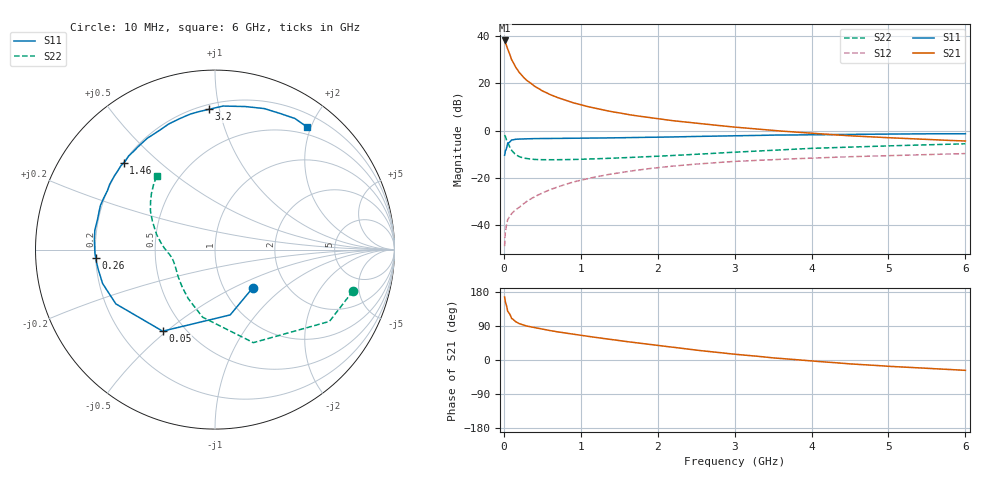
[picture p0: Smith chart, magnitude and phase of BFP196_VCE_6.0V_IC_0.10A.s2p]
! Infineon Technologies  Discrete & RF Semiconductors
! BFP196
! VCE = 6.0 V,  IC = 0.10A
! Common Emitter S-Parameters:  Jan 2016
# GHz  S  MA  R  50
!  f  S11  S21  S12  S22
! GHz  MAG  ANG  MAG  ANG  MAG  ANG  MAG  ANG
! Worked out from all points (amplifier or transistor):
!   210 points, 10 MHz to 6 GHz, reference 50 ohm
!   highest |S21| = 38.3 dB at 10 MHz (marker M1)
!   |S21| within 3 dB of that: start of sweep to 42.63 MHz
!   unconditionally stable (mu >= 1): 379.4 MHz to 4.884 GHz
!   at 185 MHz: K = 0.82, MSG = 29.2 dB, |S12| = -33.0 dB
!   at 1.52 GHz: K = 1.09, MAG = 10.8 dB, |S12| = -17.8 dB
!   at 6 GHz: K = 0.98, MSG = 2.7 dB, |S12| = -9.8 dB
!   S11 on the Smith chart (normalised r, x): 10 MHz: 1.37, -0.63; 50 MHz: 0.38, -0.48; 260 MHz: 0.20, -0.04; 1.46 GHz: 0.20, +0.38; 3.2 GHz: 0.23, +0.93; 6 GHz: 0.38, +1.94
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0.01  0.2991 -45.0  82.03 166.3  0.0035 76.9  0.8024 -16.7
0.02  0.3737 -76.9  75.14 153.4  0.0071 69.4  0.7528 -32.1
0.05  0.54 -122.7  54.04 128.6  0.0128 54.7  0.5607 -67.6
0.1  0.6298 -151.3  32.42 110.0  0.0171 49.3  0.3831 -100.3
0.15  0.6541 -163.2  22.55 101.3  0.0205 52.8  0.3119 -118.3
0.2  0.6598 -170.3  17.21 95.9  0.0234 55.4  0.2799 -130.1
0.24  0.6641 -174.1  14.46 93.1  0.0265 57.8  0.2655 -136.8
0.26  0.6662 -175.8  13.33 91.7  0.0281 58.8  0.2606 -139.7
0.3  0.6694 -178.4  11.55 89.5  0.0315 60.7  0.2542 -144.2
0.4  0.6745 175.2  8.732 85.2  0.0392 63.1  0.2434 -152.6
0.5  0.6782 170.8  6.983 81.5  0.0471 64.5  0.2404 -157.9
0.6  0.6753 166.3  5.828 77.7  0.0554 65.0  0.2396 -161.4
0.7  0.6794 162.2  5.013 74.1  0.0633 65.0  0.2402 -164.2
0.9  0.6835 155.2  3.899 68.1  0.0803 63.4  0.2427 -168.4
1.02  0.6847 150.6  3.456 64.6  0.0898 62.2  0.2458 -170.1
1.46  0.7016 136.6  2.434 52.5  0.1241 56.5  0.2605 -175.6
2.02  0.7261 120.8  1.764 38.0  0.1643 48.1  0.2865 177.1
3.1  0.7775 94.6  1.146 13.4  0.2251 31.8  0.3535 161.3
3.2  0.782 92.6  1.109 11.7  0.2291 30.3  0.3604 159.8
4.1  0.8171 76.6  0.854 -4.1  0.2636 18.9  0.4241 148.0
5.1  0.8432 63.1  0.693 -17.6  0.2966 7.8  0.4777 137.4
6  0.8541 53.2  0.6 -27.3  0.3246 -2.2  0.5241 128.4
